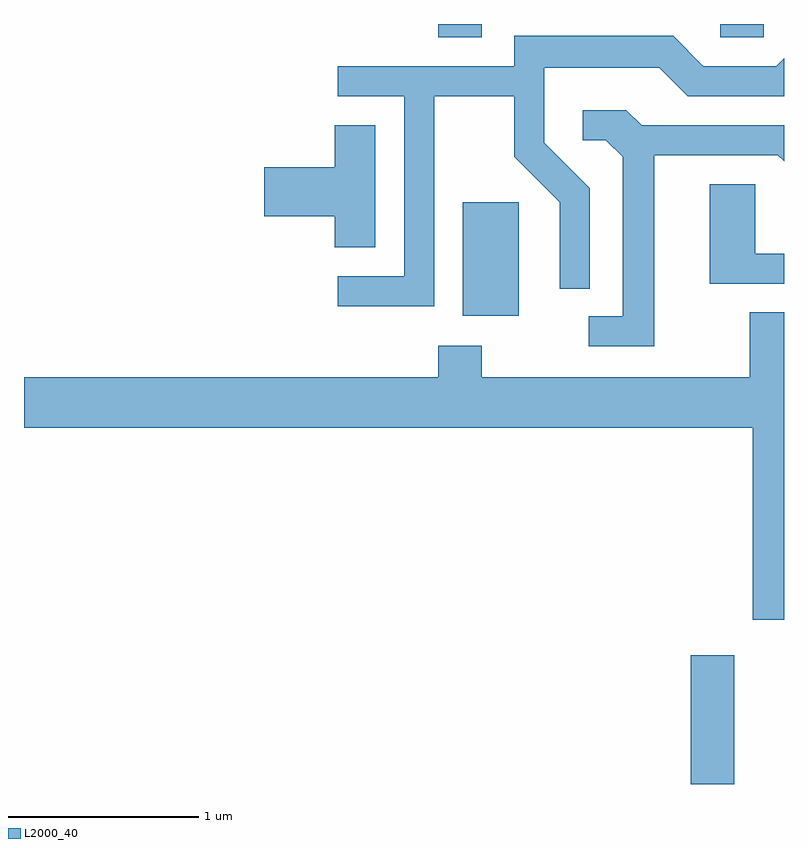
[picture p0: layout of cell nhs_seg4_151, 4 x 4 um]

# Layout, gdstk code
import gdstk
lib = gdstk.Library(unit=1e-6, precision=1e-09)
def R(c, l, rs):  # rectangles x0, y0, x1, y1
    for r in rs: c.add(gdstk.rectangle(r[:2], r[2:], *l))
def P(c, l, *ps):  # polygons
    for p in ps: c.add(gdstk.Polygon(p, *l))
L2000_40 = (2000, 40)

nhs_seg4_151 = lib.new_cell('nhs_seg4_151')
R(nhs_seg4_151, L2000_40, [(193.121,1283.982,193.349,1284.659), (191.921,1286.446,192.214,1287.044), (191.791,1287.911,192.019,1287.982), (193.276,1287.911,193.504,1287.982)])
P(nhs_seg4_151, L2000_40, [(191.769,1287.601),(192.191,1287.601),(192.191,1287.284),(192.431,1287.044),(192.431,1286.588),(192.589,1286.588),(192.589,1287.117),(192.349,1287.357),(192.349,1287.751),(192.954,1287.751),(193.104,1287.601),(193.611,1287.601),(193.611,1287.801),(193.569,1287.759),(193.187,1287.759),(193.027,1287.919),(192.191,1287.919),(192.191,1287.759),(191.263,1287.759),(191.263,1287.601),(191.611,1287.601),(191.611,1286.654),(191.263,1286.654),(191.263,1286.496),(191.769,1286.496)],
  [(192.929,1287.291),(193.579,1287.291),(193.611,1287.259),(193.611,1287.449),(192.862,1287.449),(192.782,1287.529),(192.553,1287.529),(192.553,1287.371),(192.674,1287.371),(192.761,1287.284),(192.761,1286.444),(192.583,1286.444),(192.583,1286.286),(192.929,1286.286)],
  [(191.459,1287.449),(191.246,1287.449),(191.246,1287.229),(190.876,1287.229),(190.876,1286.971),(191.246,1286.971),(191.246,1286.806),(191.459,1286.806)],
  [(193.611,1286.774),(193.459,1286.774),(193.459,1287.139),(193.221,1287.139),(193.221,1286.616),(193.611,1286.616)],
  [(193.611,1286.464),(193.431,1286.464),(193.431,1286.124),(192.019,1286.124),(192.019,1286.289),(191.791,1286.289),(191.791,1286.124),(189.611,1286.124),(189.611,1285.856),(193.446,1285.856),(193.446,1284.846),(193.611,1284.846)])

lib.write_gds('nhs_seg4_151.gds')
